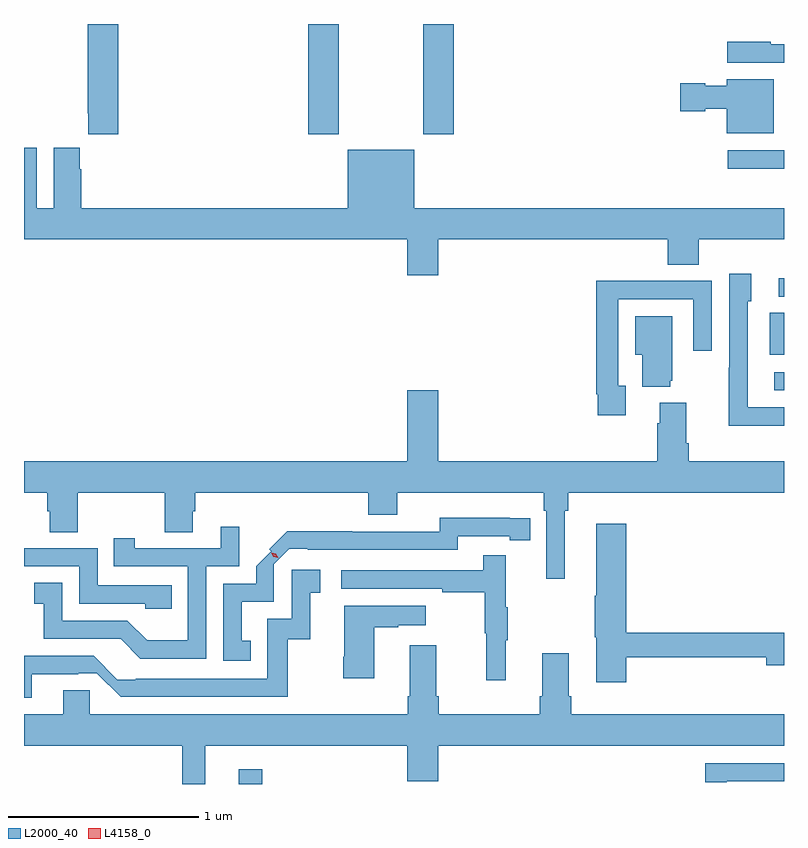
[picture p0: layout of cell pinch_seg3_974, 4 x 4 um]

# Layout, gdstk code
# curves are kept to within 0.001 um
import gdstk
lib = gdstk.Library(unit=1e-6, precision=1e-09)
def R(c, l, rs):  # rectangles x0, y0, x1, y1
    for r in rs: c.add(gdstk.rectangle(r[:2], r[2:], *l))
def P(c, l, *ps):  # polygons
    for p in ps: c.add(gdstk.Polygon(p, *l))
L2000_40 = (2000, 40)
L4158_0 = (4158, 0)

pinch_seg3_974 = lib.new_cell('pinch_seg3_974')
R(pinch_seg3_974, L2000_40, [(499.787,712.702,499.909,712.78), (502.605,714.774,502.656,714.87), (502.58,714.962,502.656,715.181), (502.629,715.266,502.656,715.364), (500.153,716.121,500.313,716.702), (500.758,716.121,500.918,716.702)])
P(pinch_seg3_974, L2000_40, [(499.151,716.702),(498.991,716.702),(498.991,716.233),(498.995,716.233),(498.995,716.121),(499.151,716.121)],
  [(502.656,716.595),(502.586,716.595),(502.586,716.608),(502.356,716.608),(502.356,716.499),(502.656,716.499)],
  [(502.603,716.41),(502.355,716.41),(502.355,716.377),(502.241,716.377),(502.241,716.39),(502.11,716.39),(502.11,716.243),(502.241,716.243),(502.241,716.255),(502.355,716.255),(502.355,716.126),(502.603,716.126)],
  [(500.836,715.568),(502.043,715.568),(502.043,715.435),(502.208,715.435),(502.208,715.568),(502.656,715.568),(502.656,715.732),(500.71,715.732),(500.71,716.041),(500.36,716.041),(500.36,715.732),(498.956,715.732),(498.956,715.937),(498.949,715.937),(498.949,716.05),(498.812,716.05),(498.812,715.732),(498.724,715.732),(498.724,716.05),(498.656,716.05),(498.656,715.568),(500.672,715.568),(500.672,715.38),(500.836,715.38)],
  [(502.583,715.941),(502.656,715.941),(502.656,716.037),(502.359,716.037),(502.359,715.94),(502.583,715.94)],
  [(502.656,714.684),(502.464,714.684),(502.464,715.242),(502.483,715.242),(502.483,715.387),(502.368,715.387),(502.368,714.893),(502.366,714.893),(502.366,714.587),(502.656,714.587)],
  [(501.823,714.798),(501.783,714.798),(501.783,715.254),(502.179,715.254),(502.179,714.981),(502.275,714.981),(502.275,715.35),(501.959,715.35),(501.959,715.352),(501.667,715.352),(501.667,714.754),(501.675,714.754),(501.675,714.642),(501.823,714.642)],
  [(502.058,714.825),(502.069,714.825),(502.069,715.165),(501.872,715.165),(501.872,714.962),(501.911,714.962),(501.911,714.794),(502.058,714.794)],
  [(500.836,714.775),(500.672,714.775),(500.672,714.4),(498.656,714.4),(498.656,714.236),(498.779,714.236),(498.779,714.138),(498.791,714.138),(498.791,714.028),(498.939,714.028),(498.939,714.236),(499.396,714.236),(499.396,714.028),(499.543,714.028),(499.543,714.138),(499.556,714.138),(499.556,714.236),(500.468,714.236),(500.468,714.119),(500.62,714.119),(500.62,714.236),(501.392,714.236),(501.392,714.14),(501.405,714.14),(501.405,713.781),(501.502,713.781),(501.502,714.14),(501.521,714.14),(501.521,714.236),(502.656,714.236),(502.656,714.4),(502.154,714.4),(502.154,714.496),(502.141,714.496),(502.141,714.709),(502.001,714.709),(502.001,714.602),(501.989,714.602),(501.989,714.4),(500.836,714.4)],
  [(499.85,713.457),(499.801,713.457),(499.801,713.661),(499.971,713.661),(499.971,713.859),(500.052,713.94),(500.149,713.94),(500.149,713.934),(500.94,713.934),(500.94,714.006),(501.212,714.006),(501.212,713.986),(501.32,713.986),(501.32,714.102),(500.844,714.103),(500.844,714.03),(500.384,714.03),(500.384,714.032),(500.041,714.032),(499.947,713.937),(499.957,713.927),(499.878,713.848),(499.878,713.757),(499.704,713.757),(499.704,713.352),(499.85,713.352)],
  [(501.827,713.37),(502.562,713.37),(502.562,713.327),(502.656,713.327),(502.656,713.498),(501.827,713.498),(501.827,714.073),(501.668,714.073),(501.668,713.693),(501.661,713.693),(501.661,713.475),(501.668,713.475),(501.668,713.238),(501.827,713.238)],
  [(499.614,713.847),(499.788,713.847),(499.788,714.055),(499.691,714.055),(499.691,713.943),(499.24,713.943),(499.24,713.995),(499.129,713.995),(499.129,713.847),(499.518,713.847),(499.518,713.458),(499.304,713.458),(499.2,713.562),(498.858,713.562),(498.858,713.761),(498.711,713.761),(498.711,713.651),(498.76,713.651),(498.76,713.466),(499.164,713.466),(499.269,713.361),(499.614,713.361)],
  [(499.433,713.748),(499.044,713.748),(499.044,713.943),(498.656,713.943),(498.656,713.847),(498.948,713.847),(498.948,713.652),(499.293,713.652),(499.293,713.625),(499.433,713.625)],
  [(501.191,713.459),(501.202,713.459),(501.202,713.633),(501.191,713.633),(501.191,713.905),(501.073,713.905),(501.073,713.826),(500.325,713.826),(500.325,713.73),(500.857,713.73),(500.857,713.71),(501.081,713.71),(501.081,713.496),(501.088,713.496),(501.088,713.247),(501.191,713.247)],
  [(498.697,713.28),(498.941,713.28),(498.941,713.286),(499.038,713.286),(499.164,713.16),(500.044,713.16),(500.044,713.463),(500.162,713.463),(500.162,713.709),(500.215,713.709),(500.215,713.83),(500.064,713.83),(500.064,713.571),(499.935,713.571),(499.935,713.256),(499.245,713.256),(499.245,713.25),(499.148,713.25),(499.022,713.376),(498.656,713.376),(498.656,713.157),(498.697,713.157)],
  [(500.5,713.527),(500.627,713.527),(500.627,713.537),(500.77,713.537),(500.77,713.641),(500.342,713.641),(500.342,713.371),(500.335,713.371),(500.335,713.259),(500.5,713.259)],
  [(499.609,712.904),(500.672,712.904),(500.672,712.716),(500.836,712.716),(500.836,712.904),(502.656,712.904),(502.656,713.068),(501.536,713.068),(501.536,713.164),(501.523,713.164),(501.523,713.389),(501.383,713.389),(501.383,713.164),(501.371,713.164),(501.371,713.068),(500.84,713.068),(500.84,713.164),(500.827,713.164),(500.827,713.431),(500.687,713.431),(500.687,713.164),(500.675,713.164),(500.675,713.068),(499.002,713.068),(499.002,713.195),(498.863,713.195),(498.863,713.068),(498.656,713.068),(498.656,712.904),(499.488,712.904),(499.488,712.702),(499.609,712.702)],
  [(502.354,712.716),(502.656,712.716),(502.656,712.812),(502.242,712.812),(502.242,712.711),(502.354,712.711)])
P(pinch_seg3_974, L4158_0, [(499.992,713.892),(499.969,713.897),(499.958,713.918),(499.958,713.919),(499.959,713.919),(499.982,713.913),(499.993,713.892),(499.993,713.892)])

lib.write_gds('pinch_seg3_974.gds')
